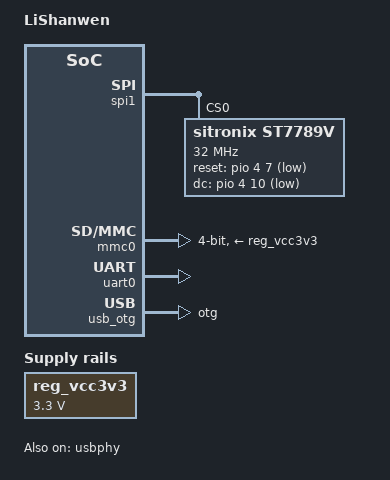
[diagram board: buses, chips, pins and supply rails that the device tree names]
// SPDX-License-Identifier: (GPL-2.0+ OR X11)
/*
 * Copyright 2018 Icenowy Zheng <icenowy@aosc.io>
 */

/dts-v1/;
#include "suniv-f1c100s.dtsi"
#include <dt-bindings/gpio/gpio.h>

/ {
	model = "LiShanwen";
	compatible = "allwinner,suniv-f1c100s";

	aliases {
		serial0 = &uart0;
	};

	chosen {
		stdout-path = "serial0:115200n8";
		/delete-node/ framebuffer@0;
	};

	reg_vcc3v3: vcc3v3 {
		compatible = "regulator-fixed";
		regulator-name = "vcc3v3";
		regulator-min-microvolt = <3300000>;
		regulator-max-microvolt = <3300000>;
	};
};

&spi1 {
	status = "okay";
	st7789v@0 {
		compatible = "sitronix,st7789v";
               reg = <0>;
               spi-max-frequency = <32000000>;
               spi-cpol;
               spi-cpha;
               rotate = <0>;
               rgb;
               fps = <30>;
               buswidth = <8>;
               reset-gpios = <&pio 4 7 GPIO_ACTIVE_LOW>;
               dc-gpios = <&pio 4 10 GPIO_ACTIVE_LOW>;
               debug = <0>;
        };
};		

/*
&be0 {
	status = "okay";
};

&de {
	status = "okay";
};

*/

&mmc0 {
	vmmc-supply = <&reg_vcc3v3>;
	bus-width = <4>;
	broken-cd;
	status = "okay";
};

&uart0 {
	pinctrl-names = "default";
	pinctrl-0 = <&uart0_pe_pins>;
	status = "okay";
};

&otg_sram {
	status = "okay";
};

&usb_otg {
	dr_mode = "otg";
	status = "okay";
};

&usbphy {
	usb0_id_det-gpio = <&pio 4 2 GPIO_ACTIVE_HIGH>; /* PE2 */
	status = "okay";
};
